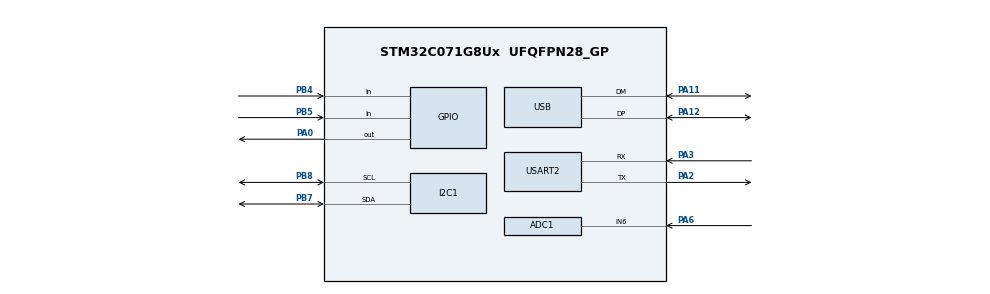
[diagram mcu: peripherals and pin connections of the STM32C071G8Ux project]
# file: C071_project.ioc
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ADC1.NbrOfConversionFlag=0
ADC1.SelectedChannel=ADC_CHANNEL_6
ADC1.master=1
I2C1.Timing=0x10805D88
Mcu.Family=STM32C0
Mcu.Name=STM32C071G8Ux
Mcu.Package=UFQFPN28_GP
PA0.Signal=GPIO_Output
PA11\ [PA9].Mode=Device
PA11\ [PA9].Signal=USB_DM
PA12\ [PA10].Mode=Device
PA12\ [PA10].Signal=USB_DP
PA2.Mode=Asynchronous
PA2.Signal=USART2_TX
PA3.Mode=Asynchronous
PA3.Signal=USART2_RX
PA6.Mode=IN6
PA6.Signal=ADC1_IN6
PB4.Signal=GPIO_Input
PB5.Signal=GPIO_Input
PB7.Mode=I2C
PB7.Signal=I2C1_SDA
PB8.Mode=I2C
PB8.Signal=I2C1_SCL
ProjectManager.HeapSize=0x200
ProjectManager.StackSize=0x400
ProjectManager.TargetToolchain=STM32CubeIDE
RCC.ADCFreq_Value=48000000
RCC.AHBFreq_Value=48000000
RCC.CortexFreq_Value=48000000
RCC.EXTERNAL_CLOCK_VALUE=12288000
RCC.HCLKFreq_Value=48000000
RCC.HSE_VALUE=8000000
RCC.HSI48_VALUE=48000000
RCC.HSIKERCLKDivider=RCC_HSIKER_DIV2
RCC.HSI_VALUE=48000000
RCC.LSE_VALUE=32768
RCC.SYSCLKFreq_VALUE=48000000
RCC.SYSCLKSource=RCC_SYSCLKSOURCE_HSIUSB48
USART2.VirtualMode-Asynchronous=VM_ASYNC
USB.VirtualMode=Device_Only
board=custom

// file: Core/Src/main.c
/* USER CODE BEGIN Header */
/**
  ******************************************************************************
  * @file           : main.c
  * @brief          : Main program body
  ******************************************************************************
  * @attention
  *
  * Copyright (c) 2026 STMicroelectronics.
  * All rights reserved.
  *
  * This software is licensed under terms that can be found in the LICENSE file
  * in the root directory of this software component.
  * If no LICENSE file comes with this software, it is provided AS-IS.
  *
  ******************************************************************************
  */
/* USER CODE END Header */
#include "main.h"

/* USER CODE BEGIN Includes */
#include "ssd1306_fonts.h"		// i2c1 - 0x3C  - prohodit i2c1 s i2c2
#include "ssd1306.h"
#include "stusb4531_api.h"
#include "oled_app.h"
#include "uart_app.h"
#include "dbg_print.h"
/* USER CODE END Includes */

/* USER CODE BEGIN PD */
#define MAX_DISPLAY_PDOS  2  // Maximum number of PDOs to display on OLED (32px height)
/* USER CODE END PD */

ADC_HandleTypeDef hadc1;

I2C_HandleTypeDef hi2c1;

UART_HandleTypeDef huart2;

PCD_HandleTypeDef hpcd_USB_DRD_FS;

/* USER CODE BEGIN PV */
STUSB4531_Status_t stusb_status = {0};
STUSB4531_EPR_t    stusb_epr    = {0};
volatile uint8_t stusb_alert_flag = 0;  // Flag set by interrupt
/* USER CODE END PV */

void SystemClock_Config(void);
static void MX_GPIO_Init(void);
static void MX_I2C1_Init(void);
static void MX_USART2_UART_Init(void);
static void MX_USB_PCD_Init(void);
static void MX_ADC1_Init(void);

/* USER CODE BEGIN 0 */

/* dbg_print is initialised in main() via dbg_print_init(&huart2) */

/* USER CODE END 0 */

int main(void)
{

  /* MCU Configuration--------------------------------------------------------*/

  /* Reset of all peripherals, Initializes the Flash interface and the Systick. */
  HAL_Init();

  /* Configure the system clock */
  SystemClock_Config();

  /* Initialize all configured peripherals */
  MX_GPIO_Init();
  MX_I2C1_Init();
  MX_USART2_UART_Init();
  MX_USB_PCD_Init();
  MX_ADC1_Init();
  /* USER CODE BEGIN 2 */

  // Initialize lightweight UART debug output (no stdio/printf)
  dbg_print_init(&huart2);
  UART_App_Init();

  OLED_App_Init();
  HAL_Delay(500);

  // Initialize STUSB4531
  print_str("STUSB4531: Initializing...\r\n");

  HAL_StatusTypeDef init_status = STUSB4531_Init(&hi2c1);
  if (init_status == HAL_OK)
  {
      stusb_status.initialized = true;
      print_str("STUSB4531: Initialization OK\r\n");

      // Read and display device ID
      uint8_t device_id = 0xFF;
      if (STUSB4531_ReadDeviceID(&hi2c1, &device_id) == HAL_OK)
      {
          print_str("STUSB4531: Device ID = 0x"); print_hex8(device_id); print_nl();
      }

      // Configure EPR sink capability (240 W max) before PD negotiation starts
      print_str("STUSB4531: Configuring EPR sink capability (240 W)...\r\n");
      if (STUSB4531_ConfigureEPRSink(&hi2c1) == HAL_OK)
          print_str("STUSB4531: EPR sink configured OK\r\n");
      else
          print_str("STUSB4531: EPR sink config failed (non-fatal)\r\n");

      // Read initial alert status
      uint8_t initial_alert;
      if (STUSB4531_ReadAlertStatus(&hi2c1, &initial_alert) == HAL_OK)
      {
          print_str("STUSB4531: Initial Alert Status = 0x"); print_hex8(initial_alert); print_nl();
          if (initial_alert != 0)
          {
              print_str("  Clearing initial alerts...\r\n");
              HAL_StatusTypeDef clear_status = STUSB4531_ClearAlerts(&hi2c1, initial_alert);
              if (clear_status == HAL_OK)
              {
                  // Wait a bit and read again to verify
                  HAL_Delay(10);
                  uint8_t verify_alert;
                  if (STUSB4531_ReadAlertStatus(&hi2c1, &verify_alert) == HAL_OK)
                  {
                      print_str("  Alert status after clear: 0x"); print_hex8(verify_alert); print_nl();
                      if (verify_alert != 0)
                      {
                          print_str("  WARNING: Alerts persist after clearing\r\n");
                      }
                  }
              }
              else
              {
                  print_str("  ERROR: Failed to clear alerts (status="); print_number(clear_status); print_str(")\r\n");
              }
          }
      }
  }
  else
  {
      print_str("STUSB4531: Initialization FAILED (status="); print_number(init_status); print_str(")\r\n");
  }

  /* --- Wait for PD negotiation, driven by PE_FSM register --- */
  {
      uint8_t last_pe = 0xFF;
      uint32_t timeout_ms = HAL_GetTick() + 2000U;  /* 2.5 s max */
      print_str("STUSB4531: Waiting for PD negotiation (PE_FSM)...\r\n");

      while (HAL_GetTick() < timeout_ms)
      {
          uint8_t pe_fsm;
          if (STUSB4531_ReadReg(&hi2c1, STUSB4531_PE_FSM_ADD, &pe_fsm) != HAL_OK)
              break;

          if (pe_fsm != last_pe)
          {
              last_pe = pe_fsm;
              /* Print PE state name to UART */
              print_str("PE FSM: 0x"); print_hex8(pe_fsm); print_str(" ");
              switch (pe_fsm) {
                  case 0x00: print_str("(PE_INIT)\r\n");          break;
                  case 0x09: print_str("(SNK_STARTUP)\r\n");      break;
                  case 0x0A: print_str("(SNK_DISCOVER)\r\n");     break;
                  case 0x0B: print_str("(SNK_WAIT_CAP)\r\n");     break;
                  case 0x0C: print_str("(SNK_EVAL_CAP)\r\n");     break;
                  case 0x0D: print_str("(SNK_SEL_CAP)\r\n");      break;
                  case 0x0E: print_str("(SNK_SEL_CAP2)\r\n");     break;
                  case 0x0F: print_str("(SNK_TRANS)\r\n");        break;
                  case 0x10: print_str("(SNK_READY) -- done\r\n"); break;
                  case 0x11: print_str("(SNK_GET_CAP)\r\n");      break;
                  case 0x12: print_str("(SNK_READY_SEND) -- done\r\n"); break;
                  default:   print_str("(state 0x"); print_hex8(pe_fsm); print_str(")\r\n"); break;
              }
          }

          OLED_App_ShowNegotiating(pe_fsm);

          /* PE_SNK_READY (0x10) or PE_SNK_READY_SENDING (0x12) = negotiated */
          if (pe_fsm >= 0x10)
              break;

          HAL_Delay(200U);
      }

      if (HAL_GetTick() >= timeout_ms)
          print_str("STUSB4531: Negotiation timeout - continuing\r\n");
  }

  HAL_Delay(500);  // Short delay before EPR sequence

  /* --- EPR sequence (only when source advertises EPR capability) --- */
  {
      /* Quickly read PDOs to check EPR capability bit in PDO1 */
      STUSB4531_CheckStatus(&hi2c1, &stusb_status);
      STUSB4531_ReadSourcePDOs(&hi2c1, &stusb_status);

      if (stusb_status.attached && stusb_status.pd_capable && stusb_status.epr_ready)
      {
          print_str("\r\nSource is EPR capable (PDO1 bit 23 set) -- starting EPR sequence\r\n");
          HAL_StatusTypeDef epr_status = STUSB4531_RunEPRSequence(&hi2c1, &stusb_status, &stusb_epr);
          print_str("EPR sequence returned status="); print_number(epr_status); print_nl();
          UART_App_PrintEPR(&stusb_epr, &stusb_status);
      }
      else
      {
          print_str("Source does NOT advertise EPR capability (PDO1 bit 23 = 0) -- skipping EPR\r\n");
      }
  }

  HAL_Delay(200);  // Short delay before entering main loop

  /* USER CODE END 2 */

  /* Infinite loop */
  /* USER CODE BEGIN WHILE */
  GPIO_PinState last_sink_en = GPIO_PIN_SET;

  while (1)
  {
	  // Update LED (PA0) to mirror Sink_EN (PB4) - LED is active low
	  GPIO_PinState sink_en_state = HAL_GPIO_ReadPin(GPIOB, GPIO_PIN_4);
	  if (sink_en_state != last_sink_en)
	  {
		  // LED is active low, so invert the Sink_EN state
		  HAL_GPIO_WritePin(GPIOA, GPIO_PIN_0, sink_en_state);
		  last_sink_en = sink_en_state;
		  print_str("Sink_EN changed: ");
		  print_str(sink_en_state == GPIO_PIN_RESET ? "LOW" : "HIGH");
		  print_str(" (LED: ");
		  print_str(sink_en_state == GPIO_PIN_RESET ? "ON" : "OFF");
		  print_str(")\r\n");
	  }

	  // Check if alert interrupt occurred
	  if (stusb_alert_flag)
	  {
	      stusb_alert_flag = 0;  // Clear flag

	      // Read and display alert status
	      uint8_t alert_status;
	      if (STUSB4531_ReadAlertStatus(&hi2c1, &alert_status) == HAL_OK)
	      {
	          UART_App_PrintAlert(alert_status);

	          // Clear the alerts
	          STUSB4531_ClearAlerts(&hi2c1, alert_status);
	      }
	  }

	  // Check STUSB4531 status
	  HAL_StatusTypeDef status_result = STUSB4531_CheckStatus(&hi2c1, &stusb_status);

	  // Read comprehensive status
	  static uint8_t last_cc_status = 0xFF;
	  static uint8_t last_typec_fsm = 0xFF;
	  static uint8_t last_pe_fsm = 0xFF;
	  STUSB4531_ComprehensiveStatus_t comp_status;

	  if (STUSB4531_ReadComprehensiveStatus(&hi2c1, &comp_status) == HAL_OK)
	  {
	      // Print status if anything changed
	      if (comp_status.cc_status != last_cc_status ||
	          comp_status.typec_fsm != last_typec_fsm ||
	          comp_status.pe_fsm != last_pe_fsm ||
	          comp_status.alert_status != 0)
	      {
	          UART_App_PrintComprehensiveStatus(&comp_status);

	          last_cc_status = comp_status.cc_status;
	          last_typec_fsm = comp_status.typec_fsm;
	          last_pe_fsm = comp_status.pe_fsm;
	      }
	  }
	  else
	  {
	      print_str("ERROR: Failed to read comprehensive status (I2C error)\r\n");
	  }

	  // If PD capable, read source capabilities (once per state change)
	  if (stusb_status.attached && stusb_status.pd_capable)
	  {
	      // Read the PDOs from DPM_SRC_PDO registers
	      if (STUSB4531_ReadSourcePDOs(&hi2c1, &stusb_status) == HAL_OK)
	      {
	          // Use the PDO position the STUSB4531 actually negotiated (from RDO)
	          STUSB4531_SetSelectedFromRDO(&stusb_status, comp_status.rdo);

	          // Populate negotiated PDO from comprehensive status
	          if (comp_status.negotiated_pdo != 0)
	          {
	              STUSB4531_ParsePDO(comp_status.negotiated_pdo, &stusb_status.negotiated_pdo);
	          }

	          // Print PDO information when count changes
	          static uint8_t last_num_pdos = 0;
	          if (stusb_status.num_pdos != last_num_pdos)
	          {
	              UART_App_PrintPDOs(&stusb_status);
	              last_num_pdos = stusb_status.num_pdos;
	          }
	      }
	      else
	      {
	          print_str("Failed to read PDOs\r\n");
	      }
	  }
	  else
	  {
	      // No PD contract: clear negotiated PDO
	      stusb_status.negotiated_pdo.voltage_mv = 0;
	      stusb_status.negotiated_pdo.current_ma = 0;
	  }

	  OLED_App_Update(&stusb_status);

	  HAL_Delay(500); // Short delay for loop (was 2000ms)
    /* USER CODE END WHILE */

  }
}

void SystemClock_Config(void)
{
  RCC_OscInitTypeDef RCC_OscInitStruct = {0};
  RCC_ClkInitTypeDef RCC_ClkInitStruct = {0};

  __HAL_FLASH_SET_LATENCY(FLASH_LATENCY_1);

  /** Initializes the RCC Oscillators according to the specified parameters
  * in the RCC_OscInitTypeDef structure.
  */
  RCC_OscInitStruct.OscillatorType = RCC_OSCILLATORTYPE_HSI48;
  RCC_OscInitStruct.HSI48State = RCC_HSI48_ON;

  if (HAL_RCC_OscConfig(&RCC_OscInitStruct) != HAL_OK)
  {
    Error_Handler();
  }

  /** Initializes the CPU, AHB and APB buses clocks
  */
  RCC_ClkInitStruct.ClockType = RCC_CLOCKTYPE_HCLK|RCC_CLOCKTYPE_SYSCLK
                              |RCC_CLOCKTYPE_PCLK1;
  RCC_ClkInitStruct.SYSCLKSource = RCC_SYSCLKSOURCE_HSIUSB48;
  RCC_ClkInitStruct.SYSCLKDivider = RCC_SYSCLK_DIV1;
  RCC_ClkInitStruct.AHBCLKDivider = RCC_HCLK_DIV1;
  RCC_ClkInitStruct.APB1CLKDivider = RCC_APB1_DIV1;

  if (HAL_RCC_ClockConfig(&RCC_ClkInitStruct, FLASH_LATENCY_1) != HAL_OK)
  {
    Error_Handler();
  }
}

static void MX_ADC1_Init(void)
{

  ADC_ChannelConfTypeDef sConfig = {0};

  /** Configure the global features of the ADC (Clock, Resolution, Data Alignment and number of conversion)
  */
  hadc1.Instance = ADC1;
  hadc1.Init.ClockPrescaler = ADC_CLOCK_SYNC_PCLK_DIV1;
  hadc1.Init.Resolution = ADC_RESOLUTION_12B;
  hadc1.Init.DataAlign = ADC_DATAALIGN_RIGHT;
  hadc1.Init.ScanConvMode = ADC_SCAN_SEQ_FIXED;
  hadc1.Init.EOCSelection = ADC_EOC_SINGLE_CONV;
  hadc1.Init.LowPowerAutoWait = DISABLE;
  hadc1.Init.LowPowerAutoPowerOff = DISABLE;
  hadc1.Init.ContinuousConvMode = DISABLE;
  hadc1.Init.NbrOfConversion = 1;
  hadc1.Init.DiscontinuousConvMode = DISABLE;
  hadc1.Init.ExternalTrigConv = ADC_SOFTWARE_START;
  hadc1.Init.ExternalTrigConvEdge = ADC_EXTERNALTRIGCONVEDGE_NONE;
  hadc1.Init.DMAContinuousRequests = DISABLE;
  hadc1.Init.Overrun = ADC_OVR_DATA_PRESERVED;
  hadc1.Init.SamplingTimeCommon1 = ADC_SAMPLETIME_1CYCLE_5;
  hadc1.Init.OversamplingMode = DISABLE;
  hadc1.Init.TriggerFrequencyMode = ADC_TRIGGER_FREQ_HIGH;
  if (HAL_ADC_Init(&hadc1) != HAL_OK)
  {
    Error_Handler();
  }

  /** Configure Regular Channel
  */
  sConfig.Channel = ADC_CHANNEL_6;
  sConfig.Rank = ADC_RANK_CHANNEL_NUMBER;
  if (HAL_ADC_ConfigChannel(&hadc1, &sConfig) != HAL_OK)
  {
    Error_Handler();
  }

}

static void MX_I2C1_Init(void)
{

  hi2c1.Instance = I2C1;
  hi2c1.Init.Timing = 0x10805D88;
  hi2c1.Init.OwnAddress1 = 0;
  hi2c1.Init.AddressingMode = I2C_ADDRESSINGMODE_7BIT;
  hi2c1.Init.DualAddressMode = I2C_DUALADDRESS_DISABLE;
  hi2c1.Init.OwnAddress2 = 0;
  hi2c1.Init.OwnAddress2Masks = I2C_OA2_NOMASK;
  hi2c1.Init.GeneralCallMode = I2C_GENERALCALL_DISABLE;
  hi2c1.Init.NoStretchMode = I2C_NOSTRETCH_DISABLE;
  if (HAL_I2C_Init(&hi2c1) != HAL_OK)
  {
    Error_Handler();
  }

  /** Configure Analogue filter
  */
  if (HAL_I2CEx_ConfigAnalogFilter(&hi2c1, I2C_ANALOGFILTER_ENABLE) != HAL_OK)
  {
    Error_Handler();
  }

  /** Configure Digital filter
  */
  if (HAL_I2CEx_ConfigDigitalFilter(&hi2c1, 0) != HAL_OK)
  {
    Error_Handler();
  }

}

static void MX_USART2_UART_Init(void)
{

  huart2.Instance = USART2;
  huart2.Init.BaudRate = 115200;
  huart2.Init.WordLength = UART_WORDLENGTH_8B;
  huart2.Init.StopBits = UART_STOPBITS_1;
  huart2.Init.Parity = UART_PARITY_NONE;
  huart2.Init.Mode = UART_MODE_TX_RX;
  huart2.Init.HwFlowCtl = UART_HWCONTROL_NONE;
  huart2.Init.OverSampling = UART_OVERSAMPLING_16;
  huart2.Init.OneBitSampling = UART_ONE_BIT_SAMPLE_DISABLE;
  huart2.Init.ClockPrescaler = UART_PRESCALER_DIV1;
  huart2.AdvancedInit.AdvFeatureInit = UART_ADVFEATURE_NO_INIT;
  if (HAL_UART_Init(&huart2) != HAL_OK)
  {
    Error_Handler();
  }

}

static void MX_USB_PCD_Init(void)
{

  hpcd_USB_DRD_FS.Instance = USB_DRD_FS;
  hpcd_USB_DRD_FS.Init.dev_endpoints = 8;
  hpcd_USB_DRD_FS.Init.speed = USBD_FS_SPEED;
  hpcd_USB_DRD_FS.Init.phy_itface = PCD_PHY_EMBEDDED;
  hpcd_USB_DRD_FS.Init.Sof_enable = DISABLE;
  hpcd_USB_DRD_FS.Init.low_power_enable = DISABLE;
  hpcd_USB_DRD_FS.Init.lpm_enable = DISABLE;
  hpcd_USB_DRD_FS.Init.battery_charging_enable = DISABLE;
  hpcd_USB_DRD_FS.Init.vbus_sensing_enable = DISABLE;
  hpcd_USB_DRD_FS.Init.bulk_doublebuffer_enable = DISABLE;
  hpcd_USB_DRD_FS.Init.iso_singlebuffer_enable = DISABLE;
  if (HAL_PCD_Init(&hpcd_USB_DRD_FS) != HAL_OK)
  {
    Error_Handler();
  }

}

static void MX_GPIO_Init(void)
{
  GPIO_InitTypeDef GPIO_InitStruct = {0};

  /* GPIO Ports Clock Enable */
  __HAL_RCC_GPIOA_CLK_ENABLE();
  __HAL_RCC_GPIOB_CLK_ENABLE();

  /*Configure GPIO pin Output Level */
  HAL_GPIO_WritePin(GPIOA, GPIO_PIN_0, GPIO_PIN_RESET);

  /*Configure GPIO pin : PA0 (LED - mirrors Sink_EN, active low) */
  GPIO_InitStruct.Pin = GPIO_PIN_0;
  GPIO_InitStruct.Mode = GPIO_MODE_OUTPUT_PP;
  GPIO_InitStruct.Pull = GPIO_NOPULL;
  GPIO_InitStruct.Speed = GPIO_SPEED_FREQ_LOW;
  HAL_GPIO_Init(GPIOA, &GPIO_InitStruct);
  HAL_GPIO_WritePin(GPIOA, GPIO_PIN_0, GPIO_PIN_SET);  // LED off initially (active low)

  /*Configure GPIO pin PB4 (SINK_EN) with pull-up */
  GPIO_InitStruct.Pin = GPIO_PIN_4;
  GPIO_InitStruct.Mode = GPIO_MODE_INPUT;
  GPIO_InitStruct.Pull = GPIO_PULLUP;
  HAL_GPIO_Init(GPIOB, &GPIO_InitStruct);

  /*Configure GPIO pin PB5 (ALERT) with pull-up and interrupt on falling edge */
  GPIO_InitStruct.Pin = GPIO_PIN_5;
  GPIO_InitStruct.Mode = GPIO_MODE_IT_FALLING;
  GPIO_InitStruct.Pull = GPIO_PULLUP;
  HAL_GPIO_Init(GPIOB, &GPIO_InitStruct);

  /* EXTI interrupt init for Alert pin */
  HAL_NVIC_SetPriority(EXTI4_15_IRQn, 0, 0);
  HAL_NVIC_EnableIRQ(EXTI4_15_IRQn);

}

/* USER CODE BEGIN 4 */

/**
 * @brief EXTI line detection callback for STUSB4531 alert
 */
void HAL_GPIO_EXTI_Falling_Callback(uint16_t GPIO_Pin)
{
    if (GPIO_Pin == GPIO_PIN_5)  // ALERT pin
    {
        stusb_alert_flag = 1;  // Set flag to handle in main loop
    }
}

/* USER CODE END 4 */

void Error_Handler(void)
{
  __disable_irq();
  while (1)
  {
  }
}
